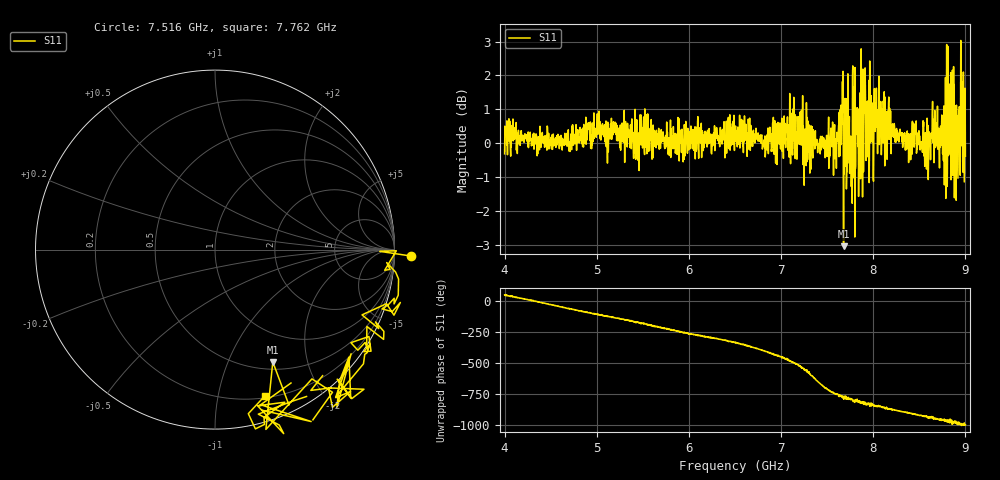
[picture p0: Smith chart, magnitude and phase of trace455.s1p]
! Created with skrf 1.8.0 (http://scikit-rf.org).
# Hz S RI R 50.0
!freq ReS11 ImS11
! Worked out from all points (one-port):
!   1601 points, 4 GHz to 9 GHz, reference 50 ohm
!   lowest |S11| = -3.0 dB at 7.678 GHz (marker M1), VSWR 5.76, Z = 29.6 - j73.5 ohm
!   |S11| at or under -10 dB: nowhere
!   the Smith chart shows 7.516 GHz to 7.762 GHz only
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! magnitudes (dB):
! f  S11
! 4 GHz  -0.3
! 4.031 GHz  -0.3
! 4.625 GHz  -0.2
! 5.25 GHz  -0.1
! 5.875 GHz  0.3
! 6.5 GHz  0.2
! 6.819 GHz  0.1
! 7.125 GHz  -0.4
! 7.591 GHz  0.1
! 7.647 GHz  1.0
! 7.678 GHz  -3.0
! 7.75 GHz  -0.2
! 7.784 GHz  0.4
! 7.8 GHz  -2.8
! 7.859 GHz  1.5
! 7.891 GHz  0.3
! 7.941 GHz  0.8
! 7.962 GHz  2.4
! 8.153 GHz  0.3
! 8.375 GHz  0.0
! 8.441 GHz  0.0
! 8.575 GHz  -0.2
! 8.656 GHz  0.7
! 8.781 GHz  -0.5
! 8.834 GHz  0.9
! 8.906 GHz  0.3
! 8.959 GHz  1.8
! 9 GHz  -0.4
